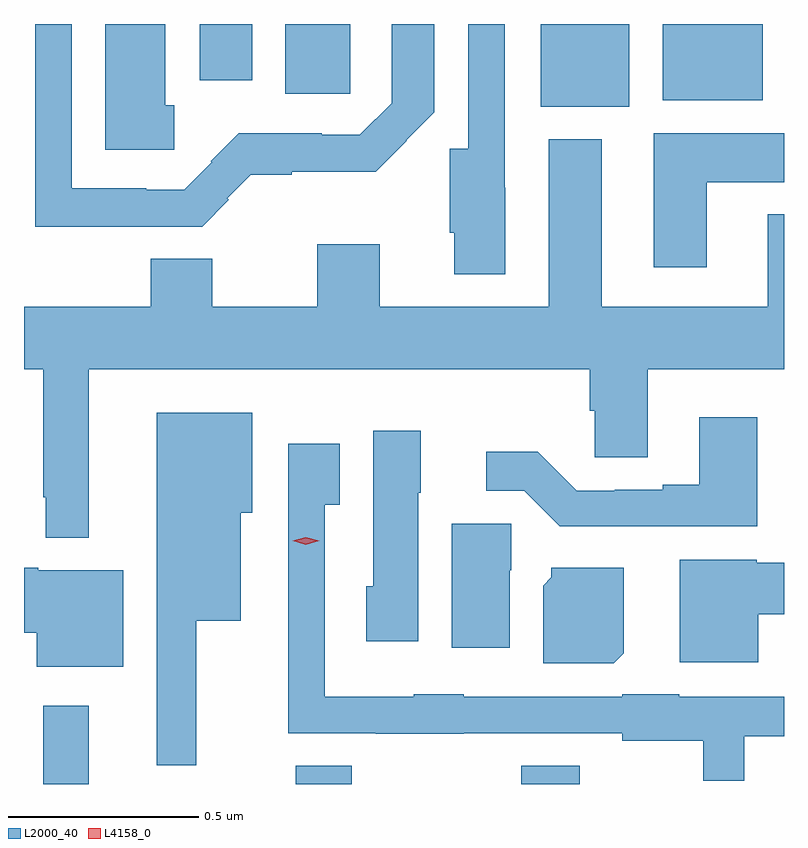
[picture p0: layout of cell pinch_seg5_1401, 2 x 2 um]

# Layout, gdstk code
import gdstk
lib = gdstk.Library(unit=1e-6, precision=1e-09)
def R(c, l, rs):  # rectangles x0, y0, x1, y1
    for r in rs: c.add(gdstk.rectangle(r[:2], r[2:], *l))
def P(c, l, *ps):  # polygons
    for p in ps: c.add(gdstk.Polygon(p, *l))
L2000_40 = (2000, 40)
L4158_0 = (4158, 0)

pinch_seg5_1401 = lib.new_cell('pinch_seg5_1401')
R(pinch_seg5_1401, L2000_40, [(262.614,886.304,262.735,886.51), (263.279,886.304,263.427,886.352), (263.872,886.304,264.027,886.352), (263.924,888.086,264.157,888.304), (264.245,888.104,264.508,888.304), (263.252,888.12,263.422,888.304), (263.027,888.156,263.164,888.304)])
P(pinch_seg5_1401, L2000_40, [(263.83,887.873),(263.829,887.873),(263.829,888.304),(263.733,888.304),(263.733,887.976),(263.684,887.976),(263.684,887.755),(263.696,887.755),(263.696,887.645),(263.83,887.645)],
  [(263.103,887.841),(263.099,887.845),(263.161,887.907),(263.269,887.907),(263.269,887.915),(263.489,887.915),(263.571,887.997),(263.57,887.998),(263.644,888.072),(263.644,888.304),(263.532,888.304),(263.532,888.096),(263.448,888.012),(263.348,888.012),(263.348,888.017),(263.129,888.017),(263.055,887.943),(263.058,887.94),(262.986,887.868),(262.886,887.868),(262.886,887.872),(262.689,887.872),(262.689,888.304),(262.593,888.304),(262.593,887.771),(263.033,887.771)],
  [(262.959,888.09),(262.936,888.09),(262.936,888.304),(262.778,888.304),(262.778,887.973),(262.959,887.973)],
  [(264.361,887.888),(264.564,887.888),(264.564,888.016),(264.221,888.016),(264.221,887.664),(264.361,887.664)],
  [(262.735,887.396),(264.053,887.396),(264.053,887.286),(264.066,887.286),(264.066,887.164),(264.205,887.164),(264.205,887.396),(264.564,887.396),(264.564,887.803),(264.521,887.803),(264.521,887.56),(264.085,887.56),(264.085,888.001),(263.945,888.001),(263.945,887.56),(263.5,887.56),(263.5,887.725),(263.336,887.725),(263.336,887.56),(263.059,887.56),(263.059,887.686),(262.898,887.686),(262.898,887.56),(262.564,887.56),(262.564,887.396),(262.614,887.396),(262.614,887.059),(262.621,887.059),(262.621,886.952),(262.735,886.952)],
  [(263.017,886.733),(263.134,886.733),(263.134,887.018),(263.164,887.018),(263.164,887.281),(262.913,887.281),(262.913,886.353),(263.017,886.353)],
  [(264.494,887.269),(264.341,887.269),(264.341,887.092),(264.245,887.092),(264.245,887.079),(264.118,887.079),(264.118,887.076),(264.018,887.076),(263.916,887.179),(263.781,887.179),(263.781,887.076),(263.88,887.076),(263.974,886.982),(264.494,886.982)],
  [(263.602,887.07),(263.608,887.07),(263.608,887.233),(263.483,887.233),(263.483,886.824),(263.465,886.824),(263.465,886.68),(263.602,886.68)],
  [(264.459,886.43),(264.564,886.43),(264.564,886.534),(264.288,886.534),(264.288,886.54),(264.138,886.54),(264.138,886.533),(263.721,886.533),(263.721,886.54),(263.589,886.54),(263.589,886.534),(263.355,886.534),(263.355,887.039),(263.395,887.039),(263.395,887.2),(263.259,887.2),(263.259,886.437),(263.489,886.437),(263.489,886.436),(263.721,886.436),(263.721,886.437),(264.138,886.437),(264.138,886.418),(264.351,886.418),(264.351,886.313),(264.459,886.313)],
  [(263.842,886.866),(263.846,886.866),(263.846,886.989),(263.69,886.989),(263.69,886.662),(263.842,886.662)],
  [(264.496,886.751),(264.564,886.751),(264.564,886.886),(264.492,886.886),(264.492,886.894),(264.29,886.894),(264.29,886.625),(264.496,886.625)],
  [(264.142,886.648),(264.142,886.873),(263.952,886.873),(263.952,886.848),(263.93,886.826),(263.93,886.622),(264.116,886.622)],
  [(262.825,886.867),(262.602,886.867),(262.602,886.873),(262.564,886.873),(262.564,886.702),(262.598,886.702),(262.598,886.613),(262.825,886.613)])
P(pinch_seg5_1401, L4158_0, [(263.306,886.934),(263.271,886.944),(263.271,886.944),(263.271,886.944),(263.306,886.954),(263.341,886.944),(263.341,886.944),(263.341,886.944)])

lib.write_gds('pinch_seg5_1401.gds')
